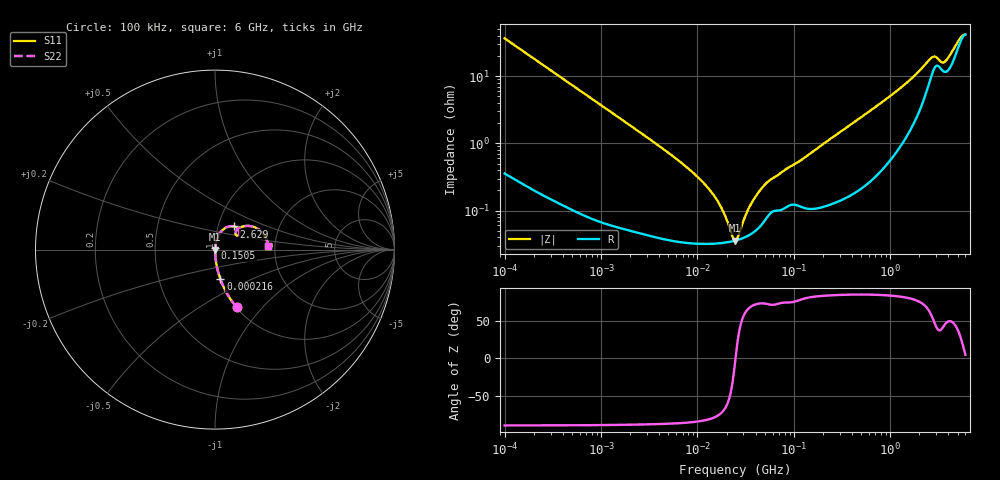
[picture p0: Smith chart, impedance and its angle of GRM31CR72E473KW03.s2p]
!Murata Part Number: GRM31CR72E473KW03
!These Parameters are Measured in Series Mode Connection
!Data Generated on Mar 30, 2021
!  o--ll--o
!Port1  Port2
!  o------o
!Operation Temp=25[degC], DC Bias Voltage=0[V]
!Freq. Start=100[kHz] Stop=6[GHz] 401[Steps]
# Hz S RI R 50
!Freq.(Hz) S11(Real) S11(Imag) S21(Real) S21(Imag) S12(Real) S12(Imag) S22(Real) S22(Imag)
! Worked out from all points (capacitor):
!   401 points, 100 kHz to 6 GHz, reference 50 ohm
!   read as one part in series: C = 43.4 nF near 105.7 kHz
!   lowest |Z| = 35.8 mohm at 24.49 MHz (marker M1)
!   series resonance near 24.8 MHz, so ESL is about 950 pH
!   S11 on the Smith chart (normalised r, x): 100 kHz: 1.01, -0.73; 216 kHz: 1.00, -0.34; 150.5 MHz: 1.00, +0.01; 2.629 GHz: 1.19, +0.32; 6 GHz: 1.83, +0.07
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100000  0.1207 -0.321  0.8793 0.321  0.8793 0.321  0.1207 -0.321
216008  0.0299 -0.165  0.9701 0.165  0.9701 0.165  0.0299 -0.165
631452  0.00429 -0.0583  0.9957 0.0583  0.9957 0.0583  0.00429 -0.0583
3987316  0.000473 -0.00918  0.9995 0.00918  0.9995 0.00918  0.000473 -0.00918
8379264  0.000342 -0.00399  0.9997 0.00399  0.9997 0.00399  0.000342 -0.00399
1.337449e7  0.000323 -0.00201  0.9997 0.00201  0.9997 0.00201  0.000323 -0.00201
1.760885e7  0.000329 -0.00107  0.9997 0.00107  0.9997 0.00107  0.000329 -0.00107
2.318381e7  0.00035 -0.000206  0.9997 0.000206  0.9997 0.000206  0.00035 -0.000206
2.44949e7  0.000356 -3.77e-05  0.9996 3.77e-05  0.9996 3.77e-05  0.000356 -3.77e-05
2.517799e7  0.00036 4.66e-05  0.9996 -4.66e-05  0.9996 -4.66e-05  0.00036 4.66e-05
3.502398e7  0.000438 0.00109  0.9996 -0.00109  0.9996 -0.00109  0.000438 0.00109
4.739851e7  0.000647 0.00214  0.9994 -0.00214  0.9994 -0.00214  0.000647 0.00214
5.746221e7  0.000925 0.00274  0.9991 -0.00274  0.9991 -0.00274  0.000925 0.00274
1.504772e8  0.00111 0.00714  0.9989 -0.00714  0.9989 -0.00714  0.00111 0.00714
1.546735e8  0.00111 0.00736  0.9989 -0.00736  0.9989 -0.00736  0.00111 0.00736
9.76689e8  0.00775 0.0487  0.9923 -0.0487  0.9923 -0.0487  0.00775 0.0487
1.889928e9  0.0351 0.1015  0.9649 -0.1015  0.9649 -0.1015  0.0351 0.1015
2.628996e9  0.1057 0.1292  0.8943 -0.1292  0.8943 -0.1292  0.1057 0.1292
2.855131e9  0.1304 0.1126  0.8696 -0.1126  0.8696 -0.1126  0.1304 0.1126
3.65708e9  0.1136 0.0916  0.8864 -0.0916  0.8864 -0.0916  0.1136 0.0916
4.814911e9  0.2014 0.1302  0.7986 -0.1302  0.7986 -0.1302  0.2014 0.1302
6e9  0.2947 0.0176  0.7053 -0.0176  0.7053 -0.0176  0.2947 0.0176
